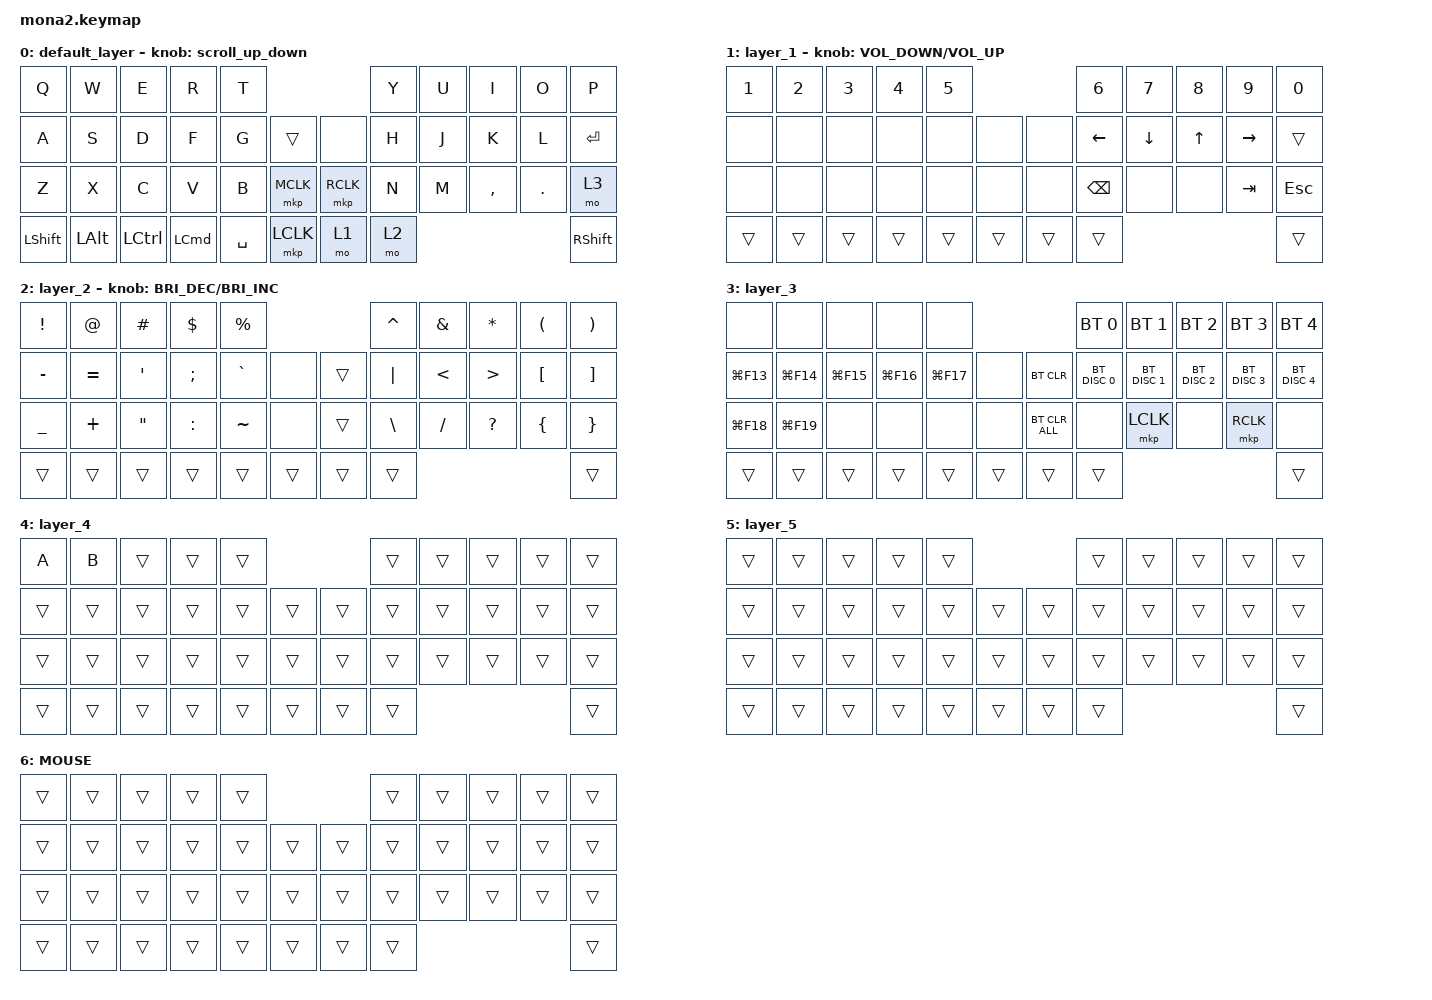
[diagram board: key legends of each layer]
#include <input/processors.dtsi>
#include <dt-bindings/zmk/input_transform.h>
#include <zephyr/dt-bindings/input/input-event-codes.h>
#include <behaviors.dtsi>
#include <dt-bindings/zmk/bt.h>
#include <dt-bindings/zmk/keys.h>
#include <dt-bindings/zmk/pointing.h>

#define ZMK_POINTING_DEFAULT_SCRL_VAL 100
#define MOUSE 5
#define SCROLL 6

&mt {
    flavor = "balanced";
    quick-tap-ms = <0>;
};

&lt {
    quick-tap-ms = <300>;
    flavor = "balanced";
};

/ {
    combos {
        compatible = "zmk,combos";

        layer4_ESC {
            bindings = <&lt 4 ESC>;
            key-positions = <39 38>;
        };

        tab {
            bindings = <&kp TAB>;
            key-positions = <11 12>;
        };
    };

    macros {
        to_layer_0: to_layer_0 {
            compatible = "zmk,behavior-macro-one-param";
            #binding-cells = <1>;
            bindings = <&to 0 &macro_param_1to1 &kp MACRO_PLACEHOLDER>;
            label = "TO_LAYER_0";
        };
    };

    behaviors {
        lt_to_layer_0: lt_to_layer_0 {
            compatible = "zmk,behavior-hold-tap";
            label = "LAYER_TAP_TO_0";
            bindings = <&mo>, <&to_layer_0>;

            #binding-cells = <2>;
            tapping-term-ms = <200>;
        };

        scroll_up_down: mouse_wheel_up_down {
            compatible = "zmk,behavior-sensor-rotate";
            #sensor-binding-cells = <0>;
            bindings = <&msc SCRL_DOWN>, <&msc SCRL_UP>;

            tap-ms = <20>;
        };

        scroll_right_left: mouse_wheel_right_left {
            compatible = "zmk,behavior-sensor-rotate";
            #sensor-binding-cells = <0>;
            bindings = <&msc SCRL_LEFT>, <&msc SCRL_RIGHT>;

            tap-ms = <20>;
        };
    };

    keymap {
        compatible = "zmk,keymap";

        default_layer {
            bindings = <
&kp Q           &kp W         &kp E             &kp R             &kp T                              &kp Y  &kp U  &kp I      &kp O    &kp P
&kp A           &kp S         &kp D             &kp F             &kp G      &trans       &none      &kp H  &kp J  &kp K      &kp L    &kp ENTER
&kp Z           &kp X         &kp C             &kp V             &kp B      &mkp MCLK    &mkp RCLK  &kp N  &kp M  &kp COMMA  &kp DOT  &mo 3
&kp LEFT_SHIFT  &kp LEFT_ALT  &kp LEFT_CONTROL  &kp LEFT_COMMAND  &kp SPACE  &mkp LCLK    &mo 1      &mo 2                             &kp RIGHT_SHIFT
            >;

            sensor-bindings = <&scroll_up_down>;
        };

        layer_1 {
            bindings = <
&kp NUMBER_1  &kp NUMBER_2  &kp NUMBER_3  &kp NUMBER_4  &kp NUMBER_5                    &kp NUMBER_6   &kp NUMBER_7  &kp NUMBER_8  &kp NUMBER_9  &kp NUMBER_0
&none         &none         &none         &none         &none         &none     &none   &kp LEFT       &kp DOWN      &kp UP        &kp RIGHT     &trans
&none         &none         &none         &none         &none         &none     &none   &kp BACKSPACE  &none         &none         &kp TAB       &kp ESC
&trans        &trans        &trans        &trans        &trans        &trans    &trans  &trans                                                   &trans
            >;

            sensor-bindings = <&inc_dec_kp C_VOLUME_DOWN C_VOLUME_UP>;
        };

        layer_2 {
            bindings = <
&kp EXCL        &kp AT     &kp POUND          &kp DOLLAR     &kp PERCENT                    &kp CARET      &kp AMPERSAND  &kp ASTRK         &kp LEFT_PARENTHESIS  &kp RIGHT_PARENTHESIS
&kp MINUS       &kp EQUAL  &kp SQT            &kp SEMICOLON  &kp GRAVE    &none     &trans  &kp PIPE       &kp LESS_THAN  &kp GREATER_THAN  &kp LEFT_BRACKET      &kp RIGHT_BRACKET
&kp UNDERSCORE  &kp PLUS   &kp DOUBLE_QUOTES  &kp COLON      &kp TILDE    &none     &trans  &kp BACKSLASH  &kp SLASH      &kp QUESTION      &kp LEFT_BRACE        &kp RIGHT_BRACE
&trans          &trans     &trans             &trans         &trans       &trans    &trans  &trans                                                                &trans
            >;

            sensor-bindings = <&inc_dec_kp C_BRIGHTNESS_DEC C_BRIGHTNESS_INC>;
        };

        layer_3 {
            bindings = <
&none        &none        &none        &none        &none                                  &bt BT_SEL 0            &bt BT_SEL 1        &bt BT_SEL 2  &bt BT_SEL 3  &bt BT_SEL 4
&kp LG(F13)  &kp LG(F14)  &kp LG(F15)  &kp LG(F16)  &kp LG(F17)  &none     &bt BT_CLR      &bt BT_DISC 0           &bt BT_DISC 1       &bt BT_DISC 2 &bt BT_DISC 3 &bt BT_DISC 4
&kp LG(F18)  &kp LG(F19)  &none        &none        &none        &none     &bt BT_CLR_ALL  &none                   &mkp LCLK           &none         &mkp RCLK     &none
&trans       &trans       &trans       &trans       &trans       &trans    &trans          &trans                                                                  &trans
            >;
        };

        layer_4 {
            bindings = <
&kp A   &kp B   &trans  &trans  &trans                    &trans  &trans  &trans  &trans  &trans
&trans  &trans  &trans  &trans  &trans  &trans    &trans  &trans  &trans  &trans  &trans  &trans
&trans  &trans  &trans  &trans  &trans  &trans    &trans  &trans  &trans  &trans  &trans  &trans
&trans  &trans  &trans  &trans  &trans  &trans    &trans  &trans                          &trans
            >;
        };

        layer_5 {
            bindings = <
&trans  &trans  &trans  &trans  &trans                    &trans  &trans  &trans  &trans  &trans
&trans  &trans  &trans  &trans  &trans  &trans    &trans  &trans  &trans  &trans  &trans  &trans
&trans  &trans  &trans  &trans  &trans  &trans    &trans  &trans  &trans  &trans  &trans  &trans
&trans  &trans  &trans  &trans  &trans  &trans    &trans  &trans                          &trans
            >;
        };

        MOUSE {
            bindings = <
&trans  &trans  &trans  &trans  &trans                    &trans  &trans  &trans  &trans  &trans
&trans  &trans  &trans  &trans  &trans  &trans    &trans  &trans  &trans  &trans  &trans  &trans
&trans  &trans  &trans  &trans  &trans  &trans    &trans  &trans  &trans  &trans  &trans  &trans
&trans  &trans  &trans  &trans  &trans  &trans    &trans  &trans                          &trans
            >;
        };
    };
};
